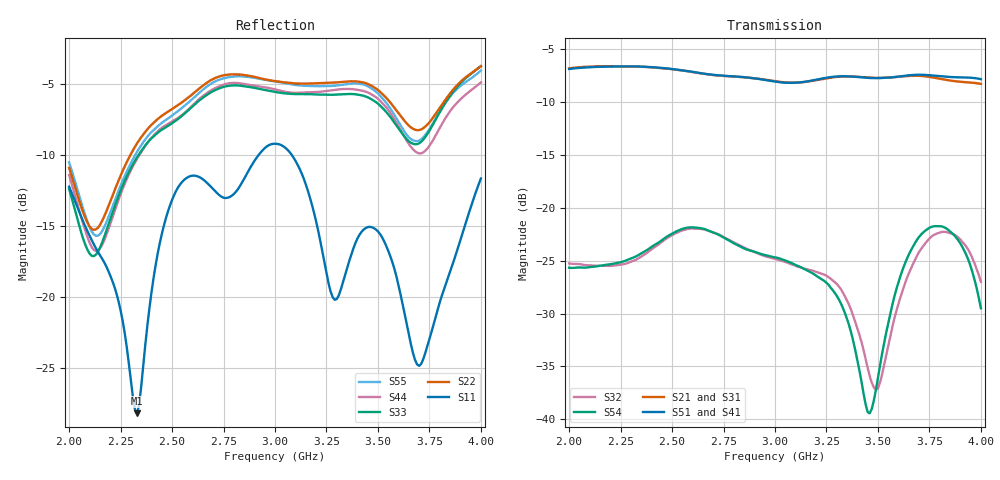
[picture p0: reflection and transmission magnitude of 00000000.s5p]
! Created with skrf 1.8.0 (http://scikit-rf.org).
# Hz S RI R 50.0
!freq ReS11 ImS11 ReS12 ImS12 ReS13 ImS13
! ReS14 ImS14 ReS15 ImS15
! ReS21 ImS21 ReS22 ImS22 ReS23 ImS23
! ReS24 ImS24 ReS25 ImS25
! ReS31 ImS31 ReS32 ImS32 ReS33 ImS33
! ReS34 ImS34 ReS35 ImS35
! ReS41 ImS41 ReS42 ImS42 ReS43 ImS43
! ReS44 ImS44 ReS45 ImS45
! ReS51 ImS51 ReS52 ImS52 ReS53 ImS53
! ReS54 ImS54 ReS55 ImS55
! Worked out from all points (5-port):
!   201 points, 2 GHz to 4 GHz, reference 50 ohm
!   strongest paths, dB at 2 GHz, 2.5 GHz, 3 GHz, 3.5 GHz, 4 GHz:
!     S51: -6.8, -6.8, -8.0, -7.7, -7.8
!     S21: -6.8, -6.9, -8.0, -7.7, -8.3
!     S41: -6.8, -6.8, -8.0, -7.7, -8.1
!     S31: -6.9, -7.0, -8.1, -7.8, -8.4
!     S54: -25.7, -22.4, -24.7, -36.1, -29.5
!     S32: -25.3, -22.6, -24.8, -37.1, -27.0
!   lowest |S11| = -28.2 dB at 2.33 GHz (marker M1), VSWR 1.08, Z = 47.1 + j2.48 ohm
!   |S11| at or under -10 dB: start of sweep to 2.919 GHz; 3.083 GHz to end of sweep
